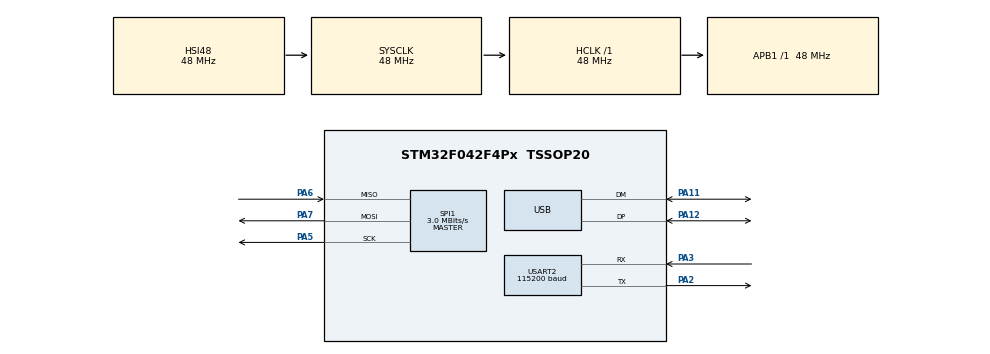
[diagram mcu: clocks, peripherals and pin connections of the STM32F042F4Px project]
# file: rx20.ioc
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Mcu.Family=STM32F0
Mcu.Name=STM32F042F4Px
Mcu.Package=TSSOP20
NVIC.USB_IRQn=true\:0\:0\:false\:false\:true\:false
PA11.Mode=Device
PA11.Signal=USB_DM
PA12.Mode=Device
PA12.Signal=USB_DP
PA13.Mode=Serial_Wire
PA13.Signal=SYS_SWDIO
PA14.Mode=Serial_Wire
PA14.Signal=SYS_SWCLK
PA2.Mode=Asynchronous
PA2.Signal=USART2_TX
PA3.Mode=Asynchronous
PA3.Signal=USART2_RX
PA5.Mode=Full_Duplex_Master
PA5.Signal=SPI1_SCK
PA6.Mode=Full_Duplex_Master
PA6.Signal=SPI1_MISO
PA7.Mode=Full_Duplex_Master
PA7.Signal=SPI1_MOSI
ProjectManager.HeapSize=0x200
ProjectManager.StackSize=0x400
ProjectManager.TargetToolchain=MDK-ARM V5
RCC.AHBFreq_Value=48000000
RCC.APB1Freq_Value=48000000
RCC.APB1TimFreq_Value=48000000
RCC.HCLKFreq_Value=48000000
RCC.SYSCLKFreq_VALUE=48000000
RCC.SYSCLKSource=RCC_SYSCLKSOURCE_HSI48
SPI1.BaudRatePrescaler=SPI_BAUDRATEPRESCALER_16
SPI1.CalculateBaudRate=3.0 MBits/s
SPI1.DataSize=SPI_DATASIZE_8BIT
SPI1.Direction=SPI_DIRECTION_2LINES
SPI1.Mode=SPI_MODE_MASTER
SPI1.VirtualType=VM_MASTER
USART2.BaudRate=115200
USART2.VirtualMode-Asynchronous=VM_ASYNC
USB_DEVICE.CLASS_NAME_FS=HID
USB_DEVICE.VirtualMode=Hid
USB_DEVICE.VirtualModeFS=Hid_FS
VP_SYS_VS_PINREMAP.Mode=PINREMAP
VP_USB_DEVICE_VS_USB_DEVICE_HID_FS.Mode=HID_FS
board=custom

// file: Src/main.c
/**
  ******************************************************************************
  * @file           : main.c
  * @brief          : Main program body
  ******************************************************************************
  * This notice applies to any and all portions of this file
  * that are not between comment pairs USER CODE BEGIN and
  * USER CODE END. Other portions of this file, whether
  * inserted by the user or by software development tools
  * are owned by their respective copyright owners.
  *
  * Copyright (c) 2018 STMicroelectronics International N.V.
  * All rights reserved.
  *
  * Redistribution and use in source and binary forms, with or without
  * modification, are permitted, provided that the following conditions are met:
  *
  * 1. Redistribution of source code must retain the above copyright notice,
  *    this list of conditions and the following disclaimer.
  * 2. Redistributions in binary form must reproduce the above copyright notice,
  *    this list of conditions and the following disclaimer in the documentation
  *    and/or other materials provided with the distribution.
  * 3. Neither the name of STMicroelectronics nor the names of other
  *    contributors to this software may be used to endorse or promote products
  *    derived from this software without specific written permission.
  * 4. This software, including modifications and/or derivative works of this
  *    software, must execute solely and exclusively on microcontroller or
  *    microprocessor devices manufactured by or for STMicroelectronics.
  * 5. Redistribution and use of this software other than as permitted under
  *    this license is void and will automatically terminate your rights under
  *    this license.
  *
  * THIS SOFTWARE IS PROVIDED BY STMICROELECTRONICS AND CONTRIBUTORS "AS IS"
  * AND ANY EXPRESS, IMPLIED OR STATUTORY WARRANTIES, INCLUDING, BUT NOT
  * LIMITED TO, THE IMPLIED WARRANTIES OF MERCHANTABILITY, FITNESS FOR A
  * PARTICULAR PURPOSE AND NON-INFRINGEMENT OF THIRD PARTY INTELLECTUAL PROPERTY
  * RIGHTS ARE DISCLAIMED TO THE FULLEST EXTENT PERMITTED BY LAW. IN NO EVENT
  * SHALL STMICROELECTRONICS OR CONTRIBUTORS BE LIABLE FOR ANY DIRECT, INDIRECT,
  * INCIDENTAL, SPECIAL, EXEMPLARY, OR CONSEQUENTIAL DAMAGES (INCLUDING, BUT NOT
  * LIMITED TO, PROCUREMENT OF SUBSTITUTE GOODS OR SERVICES; LOSS OF USE, DATA,
  * OR PROFITS; OR BUSINESS INTERRUPTION) HOWEVER CAUSED AND ON ANY THEORY OF
  * LIABILITY, WHETHER IN CONTRACT, STRICT LIABILITY, OR TORT (INCLUDING
  * NEGLIGENCE OR OTHERWISE) ARISING IN ANY WAY OUT OF THE USE OF THIS SOFTWARE,
  * EVEN IF ADVISED OF THE POSSIBILITY OF SUCH DAMAGE.
  *
  ******************************************************************************
  */
#include "main.h"
#include "stm32f0xx_hal.h"
#include "usb_device.h"

/* USER CODE BEGIN Includes */
#include "nrf24.h"
#include "shared.h"
#include "keyboard.h"

/* USER CODE END Includes */

SPI_HandleTypeDef hspi1;

UART_HandleTypeDef huart2;

/* USER CODE BEGIN PV */
/* Private variables ---------------------------------------------------------*/
uint8_t temp;
uint8_t q = 0;
uint8_t data_array[4];
uint8_t tx_address[5] = {0xD7,0xD7,0xD7,0xD7,0xD7};
uint8_t rx_address[5] = {0xE7,0xE7,0xE7,0xE7,0xE7};
/* USER CODE END PV */

void SystemClock_Config(void);
static void MX_GPIO_Init(void);
static void MX_SPI1_Init(void);
static void MX_USART2_UART_Init(void);

/* USER CODE BEGIN PFP */
/* Private function prototypes -----------------------------------------------*/

/* USER CODE END PFP */

/* USER CODE BEGIN 0 */
int fputc(int ch, FILE *f)
{
    HAL_UART_Transmit(&huart2, (unsigned char *)&ch, 1, 10);
    return ch;
}
/* USER CODE END 0 */

int main(void)
{

  /* MCU Configuration----------------------------------------------------------*/

  /* Reset of all peripherals, Initializes the Flash interface and the Systick. */
  HAL_Init();

  /* Configure the system clock */
  SystemClock_Config();

  /* Initialize all configured peripherals */
  MX_GPIO_Init();
  MX_USB_DEVICE_Init();
  MX_SPI1_Init();
  MX_USART2_UART_Init();
  /* USER CODE BEGIN 2 */
  nrf24_init();
  nrf24_config(2,4);
  nrf24_tx_address(tx_address);
  nrf24_rx_address(rx_address);
  /* USER CODE END 2 */

  /* Infinite loop */
  while (1)
  {

  /* USER CODE BEGIN 3 */
  	if(nrf24_dataReady())
    {
        nrf24_getData(data_array);
        printf("> ");
        printf("%2X ",data_array[0]);
        printf("%2X ",data_array[1]);
        printf("%2X ",data_array[2]);
        printf("%2X\r\n",data_array[3]);
    }
    keyboard_press(54, 0);
  }
  /* USER CODE END 3 */

}

void SystemClock_Config(void)
{

  RCC_OscInitTypeDef RCC_OscInitStruct;
  RCC_ClkInitTypeDef RCC_ClkInitStruct;
  RCC_PeriphCLKInitTypeDef PeriphClkInit;

    /**Initializes the CPU, AHB and APB busses clocks
    */
  RCC_OscInitStruct.OscillatorType = RCC_OSCILLATORTYPE_HSI48;
  RCC_OscInitStruct.HSI48State = RCC_HSI48_ON;
  RCC_OscInitStruct.PLL.PLLState = RCC_PLL_NONE;
  if (HAL_RCC_OscConfig(&RCC_OscInitStruct) != HAL_OK)
  {
    _Error_Handler(__FILE__, __LINE__);
  }

    /**Initializes the CPU, AHB and APB busses clocks
    */
  RCC_ClkInitStruct.ClockType = RCC_CLOCKTYPE_HCLK|RCC_CLOCKTYPE_SYSCLK
                              |RCC_CLOCKTYPE_PCLK1;
  RCC_ClkInitStruct.SYSCLKSource = RCC_SYSCLKSOURCE_HSI48;
  RCC_ClkInitStruct.AHBCLKDivider = RCC_SYSCLK_DIV1;
  RCC_ClkInitStruct.APB1CLKDivider = RCC_HCLK_DIV1;

  if (HAL_RCC_ClockConfig(&RCC_ClkInitStruct, FLASH_LATENCY_1) != HAL_OK)
  {
    _Error_Handler(__FILE__, __LINE__);
  }

  PeriphClkInit.PeriphClockSelection = RCC_PERIPHCLK_USB;
  PeriphClkInit.UsbClockSelection = RCC_USBCLKSOURCE_HSI48;

  if (HAL_RCCEx_PeriphCLKConfig(&PeriphClkInit) != HAL_OK)
  {
    _Error_Handler(__FILE__, __LINE__);
  }

    /**Configure the Systick interrupt time
    */
  HAL_SYSTICK_Config(HAL_RCC_GetHCLKFreq()/1000);

    /**Configure the Systick
    */
  HAL_SYSTICK_CLKSourceConfig(SYSTICK_CLKSOURCE_HCLK);

  /* SysTick_IRQn interrupt configuration */
  HAL_NVIC_SetPriority(SysTick_IRQn, 0, 0);
}

/* SPI1 init function */
static void MX_SPI1_Init(void)
{

  /* SPI1 parameter configuration*/
  hspi1.Instance = SPI1;
  hspi1.Init.Mode = SPI_MODE_MASTER;
  hspi1.Init.Direction = SPI_DIRECTION_2LINES;
  hspi1.Init.DataSize = SPI_DATASIZE_8BIT;
  hspi1.Init.CLKPolarity = SPI_POLARITY_LOW;
  hspi1.Init.CLKPhase = SPI_PHASE_1EDGE;
  hspi1.Init.NSS = SPI_NSS_SOFT;
  hspi1.Init.BaudRatePrescaler = SPI_BAUDRATEPRESCALER_16;
  hspi1.Init.FirstBit = SPI_FIRSTBIT_MSB;
  hspi1.Init.TIMode = SPI_TIMODE_DISABLE;
  hspi1.Init.CRCCalculation = SPI_CRCCALCULATION_DISABLE;
  hspi1.Init.CRCPolynomial = 7;
  hspi1.Init.CRCLength = SPI_CRC_LENGTH_DATASIZE;
  hspi1.Init.NSSPMode = SPI_NSS_PULSE_ENABLE;
  if (HAL_SPI_Init(&hspi1) != HAL_OK)
  {
    _Error_Handler(__FILE__, __LINE__);
  }

}

/* USART2 init function */
static void MX_USART2_UART_Init(void)
{

  huart2.Instance = USART2;
  huart2.Init.BaudRate = 115200;
  huart2.Init.WordLength = UART_WORDLENGTH_8B;
  huart2.Init.StopBits = UART_STOPBITS_1;
  huart2.Init.Parity = UART_PARITY_NONE;
  huart2.Init.Mode = UART_MODE_TX_RX;
  huart2.Init.HwFlowCtl = UART_HWCONTROL_NONE;
  huart2.Init.OverSampling = UART_OVERSAMPLING_16;
  huart2.Init.OneBitSampling = UART_ONE_BIT_SAMPLE_DISABLE;
  huart2.AdvancedInit.AdvFeatureInit = UART_ADVFEATURE_NO_INIT;
  if (HAL_UART_Init(&huart2) != HAL_OK)
  {
    _Error_Handler(__FILE__, __LINE__);
  }

}

/** Configure pins as
        * Analog
        * Input
        * Output
        * EVENT_OUT
        * EXTI
*/
static void MX_GPIO_Init(void)
{

  /* GPIO Ports Clock Enable */
  __HAL_RCC_GPIOA_CLK_ENABLE();

}

void _Error_Handler(char *file, int line)
{
  while(1)
  {
  }
}

/************************ (C) COPYRIGHT STMicroelectronics *****END OF FILE****/
